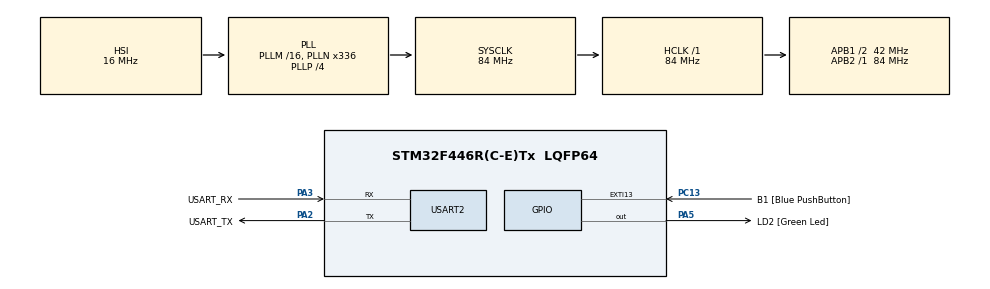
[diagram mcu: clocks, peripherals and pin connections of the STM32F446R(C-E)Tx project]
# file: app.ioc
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ADC1.Channel-0\#ChannelRegularConversion=ADC_CHANNEL_TEMPSENSOR
ADC1.NbrOfConversionFlag=1
ADC1.Rank-0\#ChannelRegularConversion=1
ADC1.SamplingTime-0\#ChannelRegularConversion=ADC_SAMPLETIME_3CYCLES
ADC1.master=1
Mcu.Family=STM32F4
Mcu.Name=STM32F446R(C-E)Tx
Mcu.Package=LQFP64
NVIC.PriorityGroup=NVIC_PRIORITYGROUP_0
PA13.GPIO_Label=TMS
PA13.Mode=Serial_Wire
PA13.Signal=SYS_JTMS-SWDIO
PA14.GPIO_Label=TCK
PA14.Mode=Serial_Wire
PA14.Signal=SYS_JTCK-SWCLK
PA2.GPIO_Label=USART_TX
PA2.Mode=Asynchronous
PA2.Signal=USART2_TX
PA3.GPIO_Label=USART_RX
PA3.Mode=Asynchronous
PA3.Signal=USART2_RX
PA5.GPIO_Label=LD2 [Green Led]
PA5.Signal=GPIO_Output
PB3.GPIO_Label=SWO
PB3.Signal=SYS_JTDO-SWO
PC13.GPIO_Label=B1 [Blue PushButton]
PC13.GPIO_ModeDefaultEXTI=GPIO_MODE_IT_FALLING
PC13.Signal=GPXTI13
PC14-OSC32_IN.Mode=LSE-External-Oscillator
PC14-OSC32_IN.Signal=RCC_OSC32_IN
PC15-OSC32_OUT.Mode=LSE-External-Oscillator
PC15-OSC32_OUT.Signal=RCC_OSC32_OUT
PH0-OSC_IN.Mode=HSE-External-Oscillator
PH0-OSC_IN.Signal=RCC_OSC_IN
PH1-OSC_OUT.Mode=HSE-External-Oscillator
PH1-OSC_OUT.Signal=RCC_OSC_OUT
ProjectManager.HeapSize=0x200
ProjectManager.StackSize=0x400
ProjectManager.TargetToolchain=STM32CubeIDE
RCC.48MHZClocksFreq_Value=84000000
RCC.AHBFreq_Value=84000000
RCC.APB1CLKDivider=RCC_HCLK_DIV2
RCC.APB1Freq_Value=42000000
RCC.APB1TimFreq_Value=84000000
RCC.APB2Freq_Value=84000000
RCC.APB2TimFreq_Value=84000000
RCC.CortexFreq_Value=84000000
RCC.FLatency-AdvancedSettings=FLASH_LATENCY_2
RCC.HCLKFreq_Value=84000000
RCC.HSE_VALUE=8000000
RCC.HSI_VALUE=16000000
RCC.PLLN=336
RCC.PLLP=RCC_PLLP_DIV4
RCC.SYSCLKFreq_VALUE=84000000
RCC.SYSCLKSource=RCC_SYSCLKSOURCE_PLLCLK
RCC.USBFreq_Value=168000000
RCC.VCOOutputFreq_Value=336000000
USART2.VirtualMode=VM_ASYNC
VP_ADC1_TempSens_Input.Mode=IN-TempSens
board=NUCLEO-F446RE

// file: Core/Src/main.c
/* USER CODE BEGIN Header */
/**
  ******************************************************************************
  * @file           : main.c
  * @brief          : Main program body
  ******************************************************************************
  * @attention
  *
  * Copyright (c) 2026 STMicroelectronics.
  * All rights reserved.
  *
  * This software is licensed under terms that can be found in the LICENSE file
  * in the root directory of this software component.
  * If no LICENSE file comes with this software, it is provided AS-IS.
  *
  ******************************************************************************
  */
/* USER CODE END Header */
#include "main.h"

/* USER CODE BEGIN Includes */
#include <stdio.h>
/* USER CODE END Includes */

ADC_HandleTypeDef hadc1;

UART_HandleTypeDef huart2;

void SystemClock_Config(void);
static void MX_GPIO_Init(void);
static void MX_USART2_UART_Init(void);
static void MX_ADC1_Init(void);

int main(void)
{

  /* USER CODE BEGIN 1 */
	SCB->VTOR = 0x08008200UL;   /* vector table lives at app base, not 0x08000000 */
	__enable_irq();
  /* USER CODE END 1 */

  /* MCU Configuration--------------------------------------------------------*/

  /* Reset of all peripherals, Initializes the Flash interface and the Systick. */
  HAL_Init();

  /* USER CODE BEGIN Init */
  __HAL_RCC_ADC_FORCE_RESET();
  __HAL_RCC_ADC_RELEASE_RESET();
  /* USER CODE END Init */

  /* Configure the system clock */
  SystemClock_Config();

  /* Initialize all configured peripherals */
  MX_GPIO_Init();
  MX_USART2_UART_Init();
  MX_ADC1_Init();

  /* Infinite loop */
  /* USER CODE BEGIN WHILE */
  while (1)
  {
	  HAL_ADC_Start(&hadc1);
	      if (HAL_ADC_PollForConversion(&hadc1, 100) == HAL_OK)
	      {
	          uint32_t raw = HAL_ADC_GetValue(&hadc1);
	          float vsense = (raw * 3.3f) / 4095.0f;
	          float temp   = ((vsense - 0.76f) / 0.0025f) + 25.0f;

	          char msg[48];
	          int n = snprintf(msg, sizeof(msg), "temp: %d.%d C\r\n",
	                           (int)temp, (int)((temp - (int)temp) * 10));
	          HAL_UART_Transmit(&huart2, (uint8_t*)msg, n, 100);
	      }
	      HAL_ADC_Stop(&hadc1);        /* <-- add this: clean up before next round */
	      HAL_Delay(1000);
    /* USER CODE END WHILE */

  }
}

void SystemClock_Config(void)
{
  RCC_OscInitTypeDef RCC_OscInitStruct = {0};
  RCC_ClkInitTypeDef RCC_ClkInitStruct = {0};

  /** Configure the main internal regulator output voltage
  */
  __HAL_RCC_PWR_CLK_ENABLE();
  __HAL_PWR_VOLTAGESCALING_CONFIG(PWR_REGULATOR_VOLTAGE_SCALE3);

  /** Initializes the RCC Oscillators according to the specified parameters
  * in the RCC_OscInitTypeDef structure.
  */
  RCC_OscInitStruct.OscillatorType = RCC_OSCILLATORTYPE_HSI;
  RCC_OscInitStruct.HSIState = RCC_HSI_ON;
  RCC_OscInitStruct.HSICalibrationValue = RCC_HSICALIBRATION_DEFAULT;
  RCC_OscInitStruct.PLL.PLLState = RCC_PLL_ON;
  RCC_OscInitStruct.PLL.PLLSource = RCC_PLLSOURCE_HSI;
  RCC_OscInitStruct.PLL.PLLM = 16;
  RCC_OscInitStruct.PLL.PLLN = 336;
  RCC_OscInitStruct.PLL.PLLP = RCC_PLLP_DIV4;
  RCC_OscInitStruct.PLL.PLLQ = 2;
  RCC_OscInitStruct.PLL.PLLR = 2;
  if (HAL_RCC_OscConfig(&RCC_OscInitStruct) != HAL_OK)
  {
    Error_Handler();
  }

  /** Initializes the CPU, AHB and APB buses clocks
  */
  RCC_ClkInitStruct.ClockType = RCC_CLOCKTYPE_HCLK|RCC_CLOCKTYPE_SYSCLK
                              |RCC_CLOCKTYPE_PCLK1|RCC_CLOCKTYPE_PCLK2;
  RCC_ClkInitStruct.SYSCLKSource = RCC_SYSCLKSOURCE_PLLCLK;
  RCC_ClkInitStruct.AHBCLKDivider = RCC_SYSCLK_DIV1;
  RCC_ClkInitStruct.APB1CLKDivider = RCC_HCLK_DIV2;
  RCC_ClkInitStruct.APB2CLKDivider = RCC_HCLK_DIV1;

  if (HAL_RCC_ClockConfig(&RCC_ClkInitStruct, FLASH_LATENCY_2) != HAL_OK)
  {
    Error_Handler();
  }
}

static void MX_ADC1_Init(void)
{

  ADC_ChannelConfTypeDef sConfig = {0};

  /** Configure the global features of the ADC (Clock, Resolution, Data Alignment and number of conversion)
  */
  hadc1.Instance = ADC1;
  hadc1.Init.ClockPrescaler = ADC_CLOCK_SYNC_PCLK_DIV4;
  hadc1.Init.Resolution = ADC_RESOLUTION_12B;
  hadc1.Init.ScanConvMode = DISABLE;
  hadc1.Init.ContinuousConvMode = DISABLE;
  hadc1.Init.DiscontinuousConvMode = DISABLE;
  hadc1.Init.ExternalTrigConvEdge = ADC_EXTERNALTRIGCONVEDGE_NONE;
  hadc1.Init.ExternalTrigConv = ADC_SOFTWARE_START;
  hadc1.Init.DataAlign = ADC_DATAALIGN_RIGHT;
  hadc1.Init.NbrOfConversion = 1;
  hadc1.Init.DMAContinuousRequests = DISABLE;
  hadc1.Init.EOCSelection = ADC_EOC_SINGLE_CONV;
  if (HAL_ADC_Init(&hadc1) != HAL_OK)
  {
    Error_Handler();
  }

  /** Configure for the selected ADC regular channel its corresponding rank in the sequencer and its sample time.
  */
  sConfig.Channel = ADC_CHANNEL_TEMPSENSOR;
  sConfig.Rank = 1;
  sConfig.SamplingTime = ADC_SAMPLETIME_480CYCLES;
  if (HAL_ADC_ConfigChannel(&hadc1, &sConfig) != HAL_OK)
  {
    Error_Handler();
  }

}

static void MX_USART2_UART_Init(void)
{

  huart2.Instance = USART2;
  huart2.Init.BaudRate = 115200;
  huart2.Init.WordLength = UART_WORDLENGTH_8B;
  huart2.Init.StopBits = UART_STOPBITS_1;
  huart2.Init.Parity = UART_PARITY_NONE;
  huart2.Init.Mode = UART_MODE_TX_RX;
  huart2.Init.HwFlowCtl = UART_HWCONTROL_NONE;
  huart2.Init.OverSampling = UART_OVERSAMPLING_16;
  if (HAL_UART_Init(&huart2) != HAL_OK)
  {
    Error_Handler();
  }

}

static void MX_GPIO_Init(void)
{
  GPIO_InitTypeDef GPIO_InitStruct = {0};

  /* GPIO Ports Clock Enable */
  __HAL_RCC_GPIOC_CLK_ENABLE();
  __HAL_RCC_GPIOH_CLK_ENABLE();
  __HAL_RCC_GPIOA_CLK_ENABLE();
  __HAL_RCC_GPIOB_CLK_ENABLE();

  /*Configure GPIO pin Output Level */
  HAL_GPIO_WritePin(LD2_GPIO_Port, LD2_Pin, GPIO_PIN_RESET);

  /*Configure GPIO pin : B1_Pin */
  GPIO_InitStruct.Pin = B1_Pin;
  GPIO_InitStruct.Mode = GPIO_MODE_IT_FALLING;
  GPIO_InitStruct.Pull = GPIO_NOPULL;
  HAL_GPIO_Init(B1_GPIO_Port, &GPIO_InitStruct);

  /*Configure GPIO pin : LD2_Pin */
  GPIO_InitStruct.Pin = LD2_Pin;
  GPIO_InitStruct.Mode = GPIO_MODE_OUTPUT_PP;
  GPIO_InitStruct.Pull = GPIO_NOPULL;
  GPIO_InitStruct.Speed = GPIO_SPEED_FREQ_LOW;
  HAL_GPIO_Init(LD2_GPIO_Port, &GPIO_InitStruct);

}

void Error_Handler(void)
{
  __disable_irq();
  while (1)
  {
  }
}
